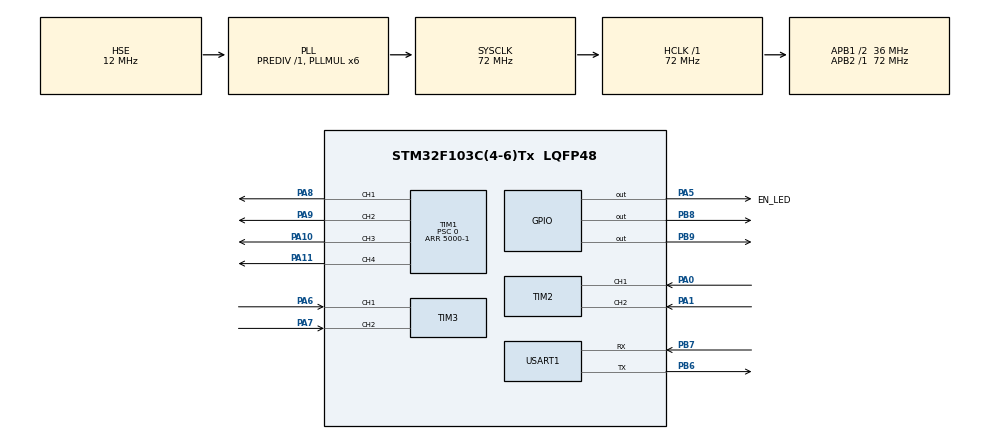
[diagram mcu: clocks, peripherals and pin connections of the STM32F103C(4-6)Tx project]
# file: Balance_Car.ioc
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Mcu.Family=STM32F1
Mcu.Name=STM32F103C(4-6)Tx
Mcu.Package=LQFP48
NVIC.PriorityGroup=NVIC_PRIORITYGROUP_4
NVIC.TIM1_UP_IRQn=true\:0\:0\:false\:false\:true\:true\:true\:true
PA0-WKUP.Signal=S_TIM2_CH1_ETR
PA1.Signal=S_TIM2_CH2
PA10.Signal=S_TIM1_CH3
PA11.Signal=S_TIM1_CH4
PA13.Mode=Serial_Wire
PA13.Signal=SYS_JTMS-SWDIO
PA14.Mode=Serial_Wire
PA14.Signal=SYS_JTCK-SWCLK
PA5.GPIO_Label=EN_LED
PA5.GPIO_ModeDefaultOutputPP=GPIO_MODE_OUTPUT_OD
PA5.GPIO_PuPd=GPIO_PULLUP
PA5.GPIO_Speed=GPIO_SPEED_FREQ_HIGH
PA5.PinState=GPIO_PIN_SET
PA5.Signal=GPIO_Output
PA6.Signal=S_TIM3_CH1
PA7.Signal=S_TIM3_CH2
PA8.Signal=S_TIM1_CH1
PA9.Signal=S_TIM1_CH2
PB6.Mode=Asynchronous
PB6.Signal=USART1_TX
PB7.Mode=Asynchronous
PB7.Signal=USART1_RX
PB8.GPIO_ModeDefaultOutputPP=GPIO_MODE_OUTPUT_OD
PB8.GPIO_PuPd=GPIO_PULLUP
PB8.GPIO_Speed=GPIO_SPEED_FREQ_HIGH
PB8.PinState=GPIO_PIN_SET
PB8.Signal=GPIO_Output
PB9.GPIO_ModeDefaultOutputPP=GPIO_MODE_OUTPUT_OD
PB9.GPIO_PuPd=GPIO_PULLUP
PB9.GPIO_Speed=GPIO_SPEED_FREQ_HIGH
PB9.PinState=GPIO_PIN_SET
PB9.Signal=GPIO_Output
PD0-OSC_IN.Mode=HSE-External-Oscillator
PD0-OSC_IN.Signal=RCC_OSC_IN
PD1-OSC_OUT.Mode=HSE-External-Oscillator
PD1-OSC_OUT.Signal=RCC_OSC_OUT
ProjectManager.HeapSize=0x200
ProjectManager.StackSize=0x400
ProjectManager.TargetToolchain=MDK-ARM V5.32
RCC.AHBFreq_Value=72000000
RCC.APB1CLKDivider=RCC_HCLK_DIV2
RCC.APB1Freq_Value=36000000
RCC.APB1TimFreq_Value=72000000
RCC.APB2Freq_Value=72000000
RCC.APB2TimFreq_Value=72000000
RCC.HCLKFreq_Value=72000000
RCC.HSE_VALUE=12000000
RCC.PLLMUL=RCC_PLL_MUL6
RCC.PLLSourceVirtual=RCC_PLLSOURCE_HSE
RCC.SYSCLKFreq_VALUE=72000000
RCC.SYSCLKSource=RCC_SYSCLKSOURCE_PLLCLK
RCC.USBFreq_Value=72000000
SH.S_TIM1_CH1.0=TIM1_CH1,PWM Generation1 CH1
SH.S_TIM1_CH2.0=TIM1_CH2,PWM Generation2 CH2
SH.S_TIM1_CH3.0=TIM1_CH3,PWM Generation3 CH3
SH.S_TIM1_CH4.0=TIM1_CH4,PWM Generation4 CH4
SH.S_TIM2_CH1_ETR.0=TIM2_CH1,Encoder_Interface
SH.S_TIM2_CH2.0=TIM2_CH2,Encoder_Interface
SH.S_TIM3_CH1.0=TIM3_CH1,Encoder_Interface
SH.S_TIM3_CH2.0=TIM3_CH2,Encoder_Interface
TIM1.AutoReloadPreload=TIM_AUTORELOAD_PRELOAD_ENABLE
TIM1.Channel-PWM\ Generation1\ CH1=TIM_CHANNEL_1
TIM1.Channel-PWM\ Generation2\ CH2=TIM_CHANNEL_2
TIM1.Channel-PWM\ Generation3\ CH3=TIM_CHANNEL_3
TIM1.Channel-PWM\ Generation4\ CH4=TIM_CHANNEL_4
TIM1.Period=5000-1
TIM1.Prescaler=0
TIM2.EncoderMode=TIM_ENCODERMODE_TI12
TIM3.EncoderMode=TIM_ENCODERMODE_TI12
USART1.VirtualMode=VM_ASYNC
VP_TIM1_VS_ClockSourceINT.Mode=Internal
board=custom

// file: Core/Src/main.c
/* USER CODE BEGIN Header */
/**
 ******************************************************************************
 * @file           : main.c
 * @brief          : Main program body
 ******************************************************************************
 * @attention
 *
 * Copyright (c) 2022 STMicroelectronics.
 * All rights reserved.
 *
 * This software is licensed under terms that can be found in the LICENSE file
 * in the root directory of this software component.
 * If no LICENSE file comes with this software, it is provided AS-IS.
 *
 ******************************************************************************
 */
/* USER CODE END Header */
#include "main.h"
#include "tim.h"
#include "usart.h"
#include "gpio.h"

void SystemClock_Config(void);

/* USER CODE BEGIN 0 */
#define PWM_Lim 500
#define Z_Static_Deviation (-16)
#define Mechanical_Median (-3.5)

uint8_t init_OK = 0;
float pitch, roll, yaw;
short gyro_x, gyro_y, gyro_z;
int16_t Speed = 0;
uint16_t T_1 = 0;
int16_t T_2 = 0;
int16_t T_3 = 0;

float Speed_L, Speed_R;
int16_t PWM_Upright = 0,
        PWM_Speed = -4,
        PWM_Steering = 0,
        PID_PWM_R = 0,
        PID_PWM_L = 0;

void Pick_Up_Test()
{
  if (init_OK == 1)
  {
    if (PWM_Upright + PWM_Speed > 3000)
      T_2++;
    else
    {
      if (pitch > 40 || pitch < -40)
        T_2++;
      else
        T_2 = 0;
    }

    if (T_2 > 100)
    {
      init_OK = 0;
      Set_Motor_PWM(MY_R, 0);
      Set_Motor_PWM(MY_L, 0);
    }
  }
  if (init_OK == 0)
  {
    if (pitch < 5 + Mechanical_Median && pitch > -5 + Mechanical_Median && gyro_y < 5 && gyro_y > -5)
    {
      T_3++;
    }

    if (T_3 > 400)
    {
      __set_FAULTMASK(1); //关中断
      NVIC_SystemReset(); //复位
    }
  }
}
void PID()
{

  T_1++;
  if (T_1 == 72)
  { //每5ms计算一次PID
    T_1 = 0;
    // printf("pitch:%f,roll:%f\r\n", pitch, roll);
    if (init_OK == 1)
    {

      Speed_L = Get_Speed(MY_L);
      Speed_R = Get_Speed(MY_R);
      Speed = Speed_L + Speed_R; //获取转速

      PWM_Upright = PID_Upright(Mechanical_Median, pitch, gyro_y);       //直立环
      PWM_Speed = PID_Speed(0, Speed);                                   //速度环
      PWM_Steering = PID_Steering(10, yaw, gyro_z + Z_Static_Deviation); //转向环

      //计算并级PID
      PID_PWM_R = PWM_Upright + PWM_Speed - PWM_Steering;
      PID_PWM_L = PWM_Upright + PWM_Speed + PWM_Steering;

      // PWM低占空比低时不给电机(避免堵转异响)
      if (PID_PWM_L > PWM_Lim || PID_PWM_L < -PWM_Lim)
        Set_Motor_PWM(MY_L, PID_PWM_L);
      if (PID_PWM_R > PWM_Lim || PID_PWM_R < -PWM_Lim)
        Set_Motor_PWM(MY_R, PID_PWM_R);
    }
    Pick_Up_Test();
  }
}
void HAL_TIM_PeriodElapsedCallback(TIM_HandleTypeDef *htim)
{

  if (htim == &htim1)
  {
    PID();
  }
}
/* USER CODE END 0 */

int main(void)
{

  /* MCU Configuration--------------------------------------------------------*/

  /* Reset of all peripherals, Initializes the Flash interface and the Systick. */
  HAL_Init();

  /* Configure the system clock */
  SystemClock_Config();

  /* Initialize all configured peripherals */
  MX_GPIO_Init();
  MX_TIM1_Init();
  MX_TIM2_Init();
  MX_TIM3_Init();
  MX_USART1_UART_Init();
  /* USER CODE BEGIN 2 */
  Init();
  init_OK = 1;
  /* USER CODE END 2 */

  /* Infinite loop */
  while (1)
  {

    /* USER CODE BEGIN 3 */
    HAL_GPIO_WritePin(GPIOA, GPIO_PIN_5, GPIO_PIN_SET); //开指示灯
    MPU_Get_Gyroscope(&gyro_x, &gyro_y, &gyro_z);       //读取角加速度
    mpu_dmp_get_data(&pitch, &roll, &yaw);              //读取DMP解算的欧拉角

    printf("%f\r\n", pitch);
  }
  /* USER CODE END 3 */
}

void SystemClock_Config(void)
{
  RCC_OscInitTypeDef RCC_OscInitStruct = {0};
  RCC_ClkInitTypeDef RCC_ClkInitStruct = {0};

  /** Initializes the RCC Oscillators according to the specified parameters
   * in the RCC_OscInitTypeDef structure.
   */
  RCC_OscInitStruct.OscillatorType = RCC_OSCILLATORTYPE_HSE;
  RCC_OscInitStruct.HSEState = RCC_HSE_ON;
  RCC_OscInitStruct.HSEPredivValue = RCC_HSE_PREDIV_DIV1;
  RCC_OscInitStruct.HSIState = RCC_HSI_ON;
  RCC_OscInitStruct.PLL.PLLState = RCC_PLL_ON;
  RCC_OscInitStruct.PLL.PLLSource = RCC_PLLSOURCE_HSE;
  RCC_OscInitStruct.PLL.PLLMUL = RCC_PLL_MUL6;
  if (HAL_RCC_OscConfig(&RCC_OscInitStruct) != HAL_OK)
  {
    Error_Handler();
  }

  /** Initializes the CPU, AHB and APB buses clocks
   */
  RCC_ClkInitStruct.ClockType = RCC_CLOCKTYPE_HCLK | RCC_CLOCKTYPE_SYSCLK | RCC_CLOCKTYPE_PCLK1 | RCC_CLOCKTYPE_PCLK2;
  RCC_ClkInitStruct.SYSCLKSource = RCC_SYSCLKSOURCE_PLLCLK;
  RCC_ClkInitStruct.AHBCLKDivider = RCC_SYSCLK_DIV1;
  RCC_ClkInitStruct.APB1CLKDivider = RCC_HCLK_DIV2;
  RCC_ClkInitStruct.APB2CLKDivider = RCC_HCLK_DIV1;

  if (HAL_RCC_ClockConfig(&RCC_ClkInitStruct, FLASH_LATENCY_2) != HAL_OK)
  {
    Error_Handler();
  }
}

void Error_Handler(void)
{
  __disable_irq();
  while (1)
  {
  }
}
